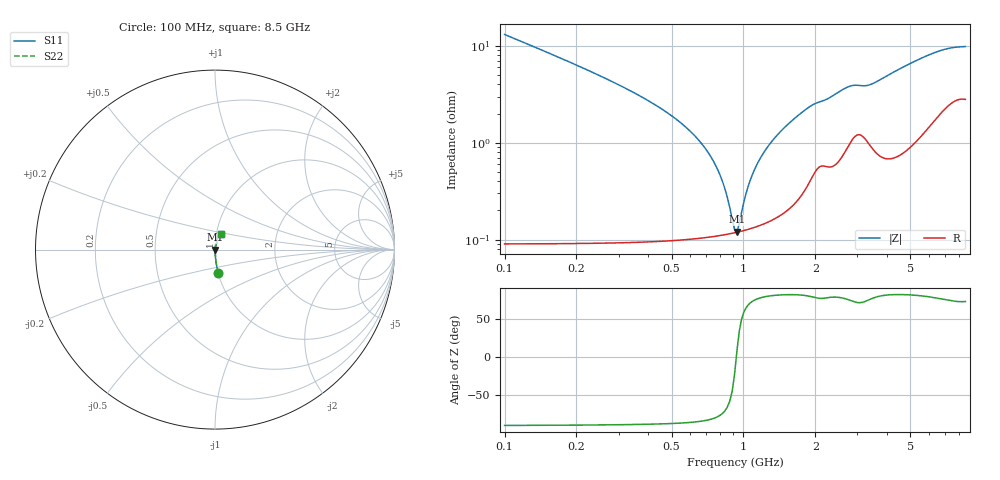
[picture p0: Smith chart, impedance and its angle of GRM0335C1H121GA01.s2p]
!Murata Part Number: GRM0335C1H121GA01
!These Parameters are Measured in Series Mode Connection
!Data Generated on Mar 30, 2021
!  o--ll--o
!Port1  Port2
!  o------o
!Operation Temp=25[degC], DC Bias Voltage=0[V]
!Freq. Start=100[MHz] Stop=9[GHz] 401[Steps]
# Hz S RI R 50
!Freq.(Hz) S11(Real) S11(Imag) S21(Real) S21(Imag) S12(Real) S12(Imag) S22(Real) S22(Imag)
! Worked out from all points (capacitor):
!   401 points, 100 MHz to 8.5 GHz, reference 50 ohm
!   read as one part in series: C = 120 pF near 142 MHz
!   lowest |Z| = 121 mohm at 940 MHz (marker M1)
!   series resonance near 933.6 MHz, so ESL is about 240 pH
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1e8  0.0178 -0.1287  0.9822 0.1287  0.9822 0.1287  0.0178 -0.1287
2.05e8  0.00468 -0.0613  0.9953 0.0613  0.9953 0.0613  0.00468 -0.0613
2.68e8  0.00298 -0.0453  0.997 0.0453  0.997 0.0453  0.00298 -0.0453
5.83e8  0.0012 -0.0139  0.9988 0.0139  0.9988 0.0139  0.0012 -0.0139
7.09e8  0.00112 -0.00796  0.9989 0.00796  0.9989 0.00796  0.00112 -0.00796
8.14e8  0.00113 -0.00393  0.9989 0.00393  0.9989 0.00393  0.00113 -0.00393
8.98e8  0.00116 -0.00111  0.9988 0.00111  0.9988 0.00111  0.00116 -0.00111
9.19e8  0.00118 -0.000451  0.9988 0.000451  0.9988 0.000451  0.00118 -0.000451
9.4e8  0.00119 0.000197  0.9988 -0.000197  0.9988 -0.000197  0.00119 0.000197
9.61e8  0.00121 0.000832  0.9988 -0.000832  0.9988 -0.000832  0.00121 0.000832
1.066e9  0.00131 0.00384  0.9987 -0.00384  0.9987 -0.00384  0.00131 0.00384
1.15e9  0.00141 0.00607  0.9986 -0.00607  0.9986 -0.00607  0.00141 0.00607
1.297e9  0.00165 0.00974  0.9984 -0.00974  0.9984 -0.00974  0.00165 0.00974
1.507e9  0.00216 0.0147  0.9978 -0.0147  0.9978 -0.0147  0.00216 0.0147
1.948e9  0.00505 0.0239  0.9949 -0.0239  0.9949 -0.0239  0.00505 0.0239
2.662e9  0.00921 0.035  0.9908 -0.035  0.9908 -0.035  0.00921 0.035
2.914e9  0.0127 0.0366  0.9873 -0.0366  0.9873 -0.0366  0.0127 0.0366
3.376e9  0.0108 0.0377  0.9892 -0.0377  0.9892 -0.0377  0.0108 0.0377
4.3e9  0.00979 0.053  0.9902 -0.053  0.9902 -0.053  0.00979 0.053
5.707e9  0.018 0.0735  0.982 -0.0735  0.982 -0.0735  0.018 0.0735
7.114e9  0.0304 0.0857  0.9696 -0.0857  0.9696 -0.0857  0.0304 0.0857
8.5e9  0.0354 0.0886  0.9646 -0.0886  0.9646 -0.0886  0.0354 0.0886
